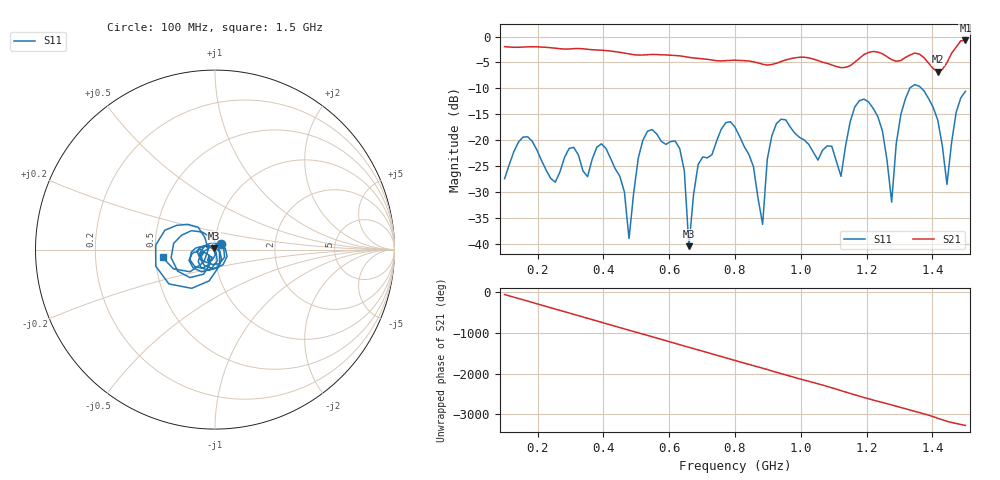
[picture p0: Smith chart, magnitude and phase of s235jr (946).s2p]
! NanoVNA-App
! Date: 2025-09-25 15:11:32
! Start: 100MHz Stop: 1,5GHz Points: 101
! S-Parameter data: F S11 S21 S12 S22
# Hz S RI R 50
!  Frequency  S11_Real  S11_Imag  S21_Real  S21_Imag  S12_Real  S12_Imag  S22_Real  S22_Imag
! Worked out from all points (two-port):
!   101 points, 100 MHz to 1.5 GHz, reference 50 ohm
!   highest |S21| = -0.76 dB at 1.5 GHz (marker M1); lowest = -6.8 dB at 1.416 GHz (marker M2)
!   |S21| within 3 dB of the highest: start of sweep to 634.6 MHz; 1.187 GHz to 1.259 GHz (71.9 MHz wide, 5.88 % of centre) (the widest 2 of 4)
!   lowest |S11| = -40.5 dB at 660 MHz (marker M3), VSWR 1.02, Z = 49.3 + j0.613 ohm
!   |S11| at or under -10 dB: start of sweep to 1.331 GHz; 1.366 GHz to end of sweep
!   S12 and S22 are empty: the file has one direction only
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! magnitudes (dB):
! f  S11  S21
! 100 MHz  -27.5  -2.0
! 156 MHz  -19.4  -2.0
! 338 MHz  -26.0  -2.4
! 408 MHz  -21.6  -2.7
! 478 MHz  -39.0  -3.4
! 520 MHz  -20.1  -3.6
! 576 MHz  -20.2  -3.5
! 632 MHz  -21.6  -3.7
! 660 MHz  -40.5  -4.0
! 688 MHz  -24.7  -4.2
! 800 MHz  -17.5  -4.6
! 884 MHz  -36.3  -5.4
! 926 MHz  -16.8  -5.2
! 1.038 GHz  -22.3  -4.4
! 1.122 GHz  -27.0  -6.0
! 1.164 GHz  -13.6  -4.9
! 1.206 GHz  -12.7  -3.1
! 1.276 GHz  -32.0  -4.5
! 1.332 GHz  -9.9  -3.6
! 1.416 GHz  -16.1  -6.8
! 1.444 GHz  -28.6  -5.1
! 1.5 GHz  -10.6  -0.8
